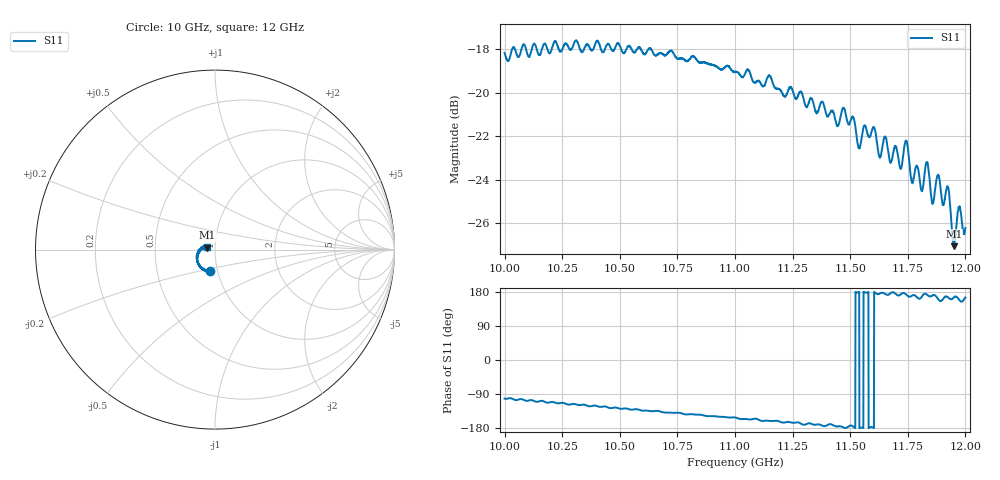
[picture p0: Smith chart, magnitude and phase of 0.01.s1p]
[Version] 2.0
! Rohde & Schwarz Vector Network Analyzer
! Rohde-Schwarz,ZNL20-2Port,1323001220200009,1.71.1.10-23.02.1.238
! Port Assignments:
! Nominal Port -> Actual Test Port
!  1 -> 1
! Created: GMT 2024-09-04 10:28:45
# Hz S DB R 50
[Number of Ports] 1
! freq[Hz]  S11[mag dB]  S11[ang]
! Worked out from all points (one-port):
!   2001 points, 10 GHz to 12 GHz, reference 50 ohm
!   lowest |S11| = -27.1 dB at 11.95 GHz (marker M1), VSWR 1.09, Z = 45.9 + j1.03 ohm
!   |S11| at or under -10 dB: start of sweep to end of sweep
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[Number of Frequencies] 28
[Network Data]
1e10  -18.17 -102.0
1.025e10  -18.00 -112.9
1.05e10  -17.83 -128.2
1.075e10  -18.44 -139.2
1.1e10  -19.02 -151.6
1.125e10  -19.88 -165.5
1.15e10  -21.35 -172.8
1.1539e10  -22.53 179.9
1.1564e10  -21.53 178.4
1.1604e10  -21.61 179.6
1.1629e10  -23.00 175.4
1.1651e10  -22.04 174.5
1.1673e10  -23.18 175.1
1.1697e10  -22.46 174.3
1.1718e10  -23.44 172.3
1.174e10  -22.22 174.3
1.175e10  -22.51 169.1
1.1769e10  -24.14 169.9
1.179e10  -23.37 165.6
1.1812e10  -24.54 168.0
1.1833e10  -23.21 172.7
1.1857e10  -25.11 170.6
1.188e10  -23.80 162.2
1.1903e10  -25.12 160.7
1.1923e10  -24.35 165.9
1.195e10  -27.06 165.4
1.1973e10  -25.28 158.9
1.2e10  -26.22 165.0
[End]
